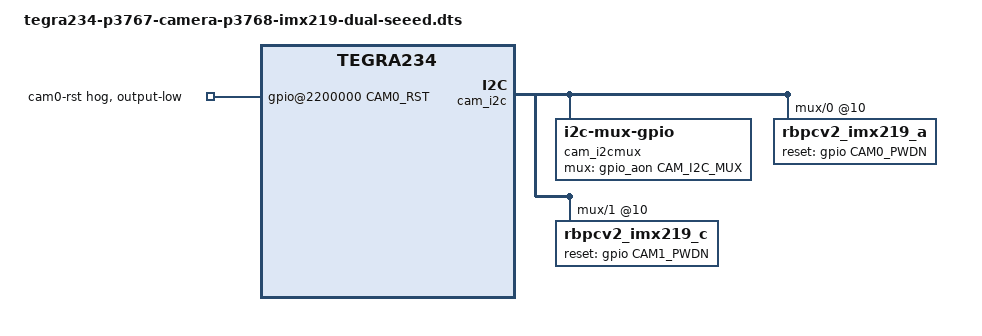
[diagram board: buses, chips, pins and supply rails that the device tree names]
// SPDX-License-Identifier: GPL-2.0-only
// SPDX-FileCopyrightText: Copyright (c) 2023, NVIDIA CORPORATION & AFFILIATES. All rights reserved.

/dts-v1/;
/plugin/;

#define CAM0_RST        TEGRA234_MAIN_GPIO(H, 3)
#define CAM0_PWDN	TEGRA234_MAIN_GPIO(H, 6)
#define CAM1_PWDN	TEGRA234_MAIN_GPIO(AC, 0)
#define CAM_I2C_MUX 	TEGRA234_AON_GPIO(CC, 3)

#include <dt-bindings/tegra234-p3767-0000-common.h>
#include "tegra234-camera-rbpcv2-imx219.dtsi"

/ {
	overlay-name = "Camera IMX219 Dual";
	jetson-header-name = "Jetson 24pin CSI Connector";
	compatible = JETSON_COMPATIBLE_P3768;

	fragment-camera-imx219@0 {
		target-path = "/";
		__overlay__ {
			bus@0 {
				cam_i2cmux{
					status = "okay";
					compatible = "i2c-mux-gpio";
					#address-cells = <1>;
					#size-cells = <0>;
					i2c-parent = <&cam_i2c>;
					mux-gpios = <&gpio_aon CAM_I2C_MUX GPIO_ACTIVE_HIGH>;
					i2c@0 {
						status = "okay";
						reg = <0>;
						#address-cells = <1>;
						#size-cells = <0>;
						rbpcv2_imx219_a@10 {
							reset-gpios = <&gpio CAM0_PWDN GPIO_ACTIVE_HIGH>;
							mode0 {
								tegra_sinterface = "serial_a";
							};
							mode1 {
								tegra_sinterface = "serial_a";
							};
							mode2 {
								tegra_sinterface = "serial_a";
							};
							mode3 {
								tegra_sinterface = "serial_a";
							};
							mode4 {
								tegra_sinterface = "serial_a";
							};
						};
					};
					i2c@1 {
						status = "okay";
						reg = <1>;
						#address-cells = <1>;
						#size-cells = <0>;
						rbpcv2_imx219_c@10 {
							reset-gpios = <&gpio CAM1_PWDN GPIO_ACTIVE_HIGH>;
						};
					};
				};
				gpio@2200000 {
					camera-control-output-low {
						gpio-hog;
						output-low;
						gpios = <CAM0_RST 0>;
						label = "cam0-rst";
					};
				};
			};
		};
	};
};
